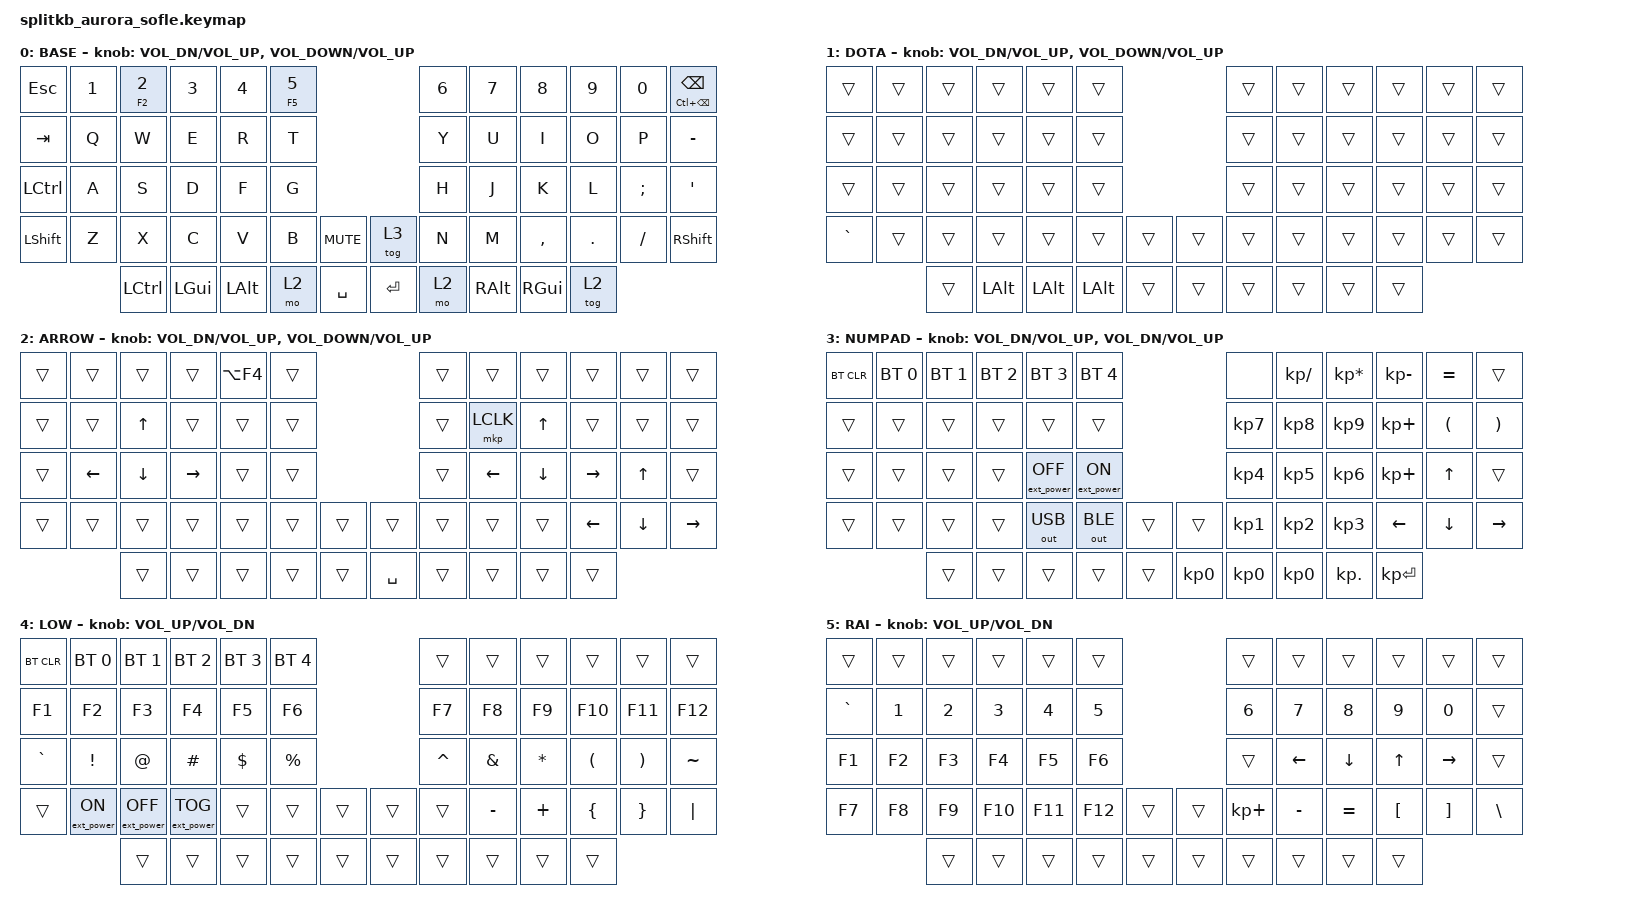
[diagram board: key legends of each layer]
#include <behaviors.dtsi>
#include <dt-bindings/zmk/bt.h>
#include <dt-bindings/zmk/ext_power.h>
#include <dt-bindings/zmk/keys.h>
#include <dt-bindings/zmk/outputs.h>
#include <dt-bindings/zmk/pointing.h>

/ {
    behaviors {
        TD_2: TD_2 {
            compatible = "zmk,behavior-tap-dance";
            label = "TD_2";
            #binding-cells = <0>;
            bindings = <&kp NUMBER_2>, <&kp F2>;

            tapping-term-ms = <100>;
        };

        TD_0: TD_0 {
            compatible = "zmk,behavior-tap-dance";
            label = "TD_0";
            #binding-cells = <0>;
            bindings = <&tog 8>, <&tog 9>;

            tapping-term-ms = <100>;
        };

        TD_1: TD_1 {
            compatible = "zmk,behavior-tap-dance";
            label = "TD_1";
            #binding-cells = <0>;
            bindings = <&kp BACKSPACE>, <&kp LC(BACKSPACE)>;

            tapping-term-ms = <100>;
        };

        TD_5: TD_5 {
            compatible = "zmk,behavior-tap-dance";
            label = "TD_5";
            #binding-cells = <0>;
            bindings = <&kp N5>, <&kp F5>;

            tapping-term-ms = <100>;
        };

        TH_2: TH_2 {
            compatible = "zmk,behavior-hold-tap";
            label = "TH_2";
            bindings = <&kp>, <&kp>;

            #binding-cells = <2>;
            flavor = "tap-preferred";
            tapping-term-ms = <200>;
        };
    };

    combos {
        compatible = "zmk,combos";

        Delete {
            bindings = <&kp DELETE>;
            key-positions = <22 23>;
        };

        equal_plus {
            bindings = <&kp EQUAL>;
            key-positions = <9 10>;
        };

        Backslash {
            bindings = <&kp BACKSLASH>;
            key-positions = <20 33>;
        };

        left_bracklet {
            bindings = <&kp LEFT_BRACKET>;
            key-positions = <20 21>;
        };

        right_bracket {
            bindings = <&kp RIGHT_BRACKET>;
            key-positions = <21 22>;
        };

        reset_layer {
            bindings = <&to 0>;
            key-positions = <54 55>;
        };

        To_dota {
            bindings = <&tog 1>;
            key-positions = <3 4 5>;
        };
    };

    macros {
        sinfo: sinfo {
            compatible = "zmk,behavior-macro";
            #binding-cells = <0>;
            bindings = <&none>;
            label = "SINFO";
        };
    };

    keymap {
        compatible = "zmk,keymap";

        default_layer {
            display-name = "BASE";

            // ------------------------------------------------------------------------------------------------------------
            // |  ESC  |  1  |  2  |  3   |  4   |  5   |                   |  6   |  7    |  8    |  9   |   0   |   `   |
            // |  TAB  |  Q  |  W  |  E   |  R   |  T   |                   |  Y   |  U    |  I    |  O   |   P   |   -   |
            // |  CTRL |  A  |  S  |  D   |  F   |  G   |                   |  H   |  J    |  K    |  L   |   ;   |   '   |
            // | SHIFT |  Z  |  X  |  C   |  V   |  B   |   "["  |  |  "]"  |  N   |  M    |  ,    |  .   |   /   | SHIFT |
            //               |CTRL | ALT  | GUI  | LOWER|  SPACE |  | ENTER | RAISE| BSPC  | GUI   | RALT |

            bindings = <
&kp ESC    &kp N1  &TH_2 F2 NUMBER_2  &kp N3        &kp N4        &TH_2 F5 N5                         &kp N6  &kp N7         &kp N8     &kp N9   &kp N0    &TH_2 LC(BACKSPACE) BACKSPACE
&kp TAB    &kp Q   &kp W              &kp E         &kp R         &kp T                               &kp Y   &kp U          &kp I      &kp O    &kp P     &kp MINUS
&kp LCTRL  &kp A   &kp S              &kp D         &kp F         &kp G                               &kp H   &kp J          &kp K      &kp L    &kp SEMI  &kp SQT
&kp LSHFT  &kp Z   &kp X              &kp C         &kp V         &kp B        &kp C_MUTE    &tog 3   &kp N   &kp M          &kp COMMA  &kp DOT  &kp FSLH  &kp RSHFT
                   &kp LCTRL          &kp LEFT_GUI  &kp LEFT_ALT  &mo 2        &kp SPACE     &kp RET  &mo 2   &kp RIGHT_ALT  &kp RGUI   &tog 2
            >;

            sensor-bindings =
                <&inc_dec_kp C_VOL_DN C_VOL_UP>,
                <&inc_dec_kp C_VOLUME_DOWN C_VOLUME_UP>;
        };

        Dota {
            bindings = <
&trans     &trans  &trans  &trans    &trans    &trans                      &trans  &trans  &trans  &trans  &trans  &trans
&trans     &trans  &trans  &trans    &trans    &trans                      &trans  &trans  &trans  &trans  &trans  &trans
&trans     &trans  &trans  &trans    &trans    &trans                      &trans  &trans  &trans  &trans  &trans  &trans
&kp GRAVE  &trans  &trans  &trans    &trans    &trans    &trans    &trans  &trans  &trans  &trans  &trans  &trans  &trans
                   &trans  &kp LALT  &kp LALT  &kp LALT  &trans    &trans  &trans  &trans  &trans  &trans
            >;

            sensor-bindings =
                <&inc_dec_kp C_VOL_DN C_VOL_UP>,
                <&inc_dec_kp C_VOLUME_DOWN C_VOLUME_UP>;

            label = "DOTA";
        };

        Arrow {
            bindings = <
&trans  &trans          &trans          &trans     &kp LA(F4)  &trans                       &trans  &trans          &trans          &trans          &trans          &trans
&trans  &trans          &kp UP_ARROW    &trans     &trans      &trans                       &trans  &mkp LCLK       &kp UP_ARROW    &trans          &trans          &trans
&trans  &kp LEFT_ARROW  &kp DOWN_ARROW  &kp RIGHT  &trans      &trans                       &trans  &kp LEFT_ARROW  &kp DOWN_ARROW  &kp RIGHT       &kp UP_ARROW    &trans
&trans  &trans          &trans          &trans     &trans      &trans  &trans    &trans     &trans  &trans          &trans          &kp LEFT_ARROW  &kp DOWN_ARROW  &kp RIGHT
                        &trans          &trans     &trans      &trans  &trans    &kp SPACE  &trans  &trans          &trans          &trans
            >;

            sensor-bindings =
                <&inc_dec_kp C_VOL_DN C_VOL_UP>,
                <&inc_dec_kp C_VOLUME_DOWN C_VOLUME_UP>;

            label = "ARROW";
        };

        NUMPAD {
            bindings = <
&bt BT_CLR  &bt BT_SEL 0  &bt BT_SEL 1  &bt BT_SEL 2  &bt BT_SEL 3       &bt BT_SEL 4                           &none            &kp KP_DIVIDE    &kp KP_MULTIPLY  &kp KP_SUBTRACT  &kp EQUAL             &trans
&trans      &trans        &trans        &trans        &trans             &trans                                 &kp KP_NUMBER_7  &kp KP_NUMBER_8  &kp KP_NUMBER_9  &kp KP_PLUS      &kp LEFT_PARENTHESIS  &kp RIGHT_PARENTHESIS
&trans      &trans        &trans        &trans        &ext_power EP_OFF  &ext_power EP_ON                       &kp KP_NUMBER_4  &kp KP_NUMBER_5  &kp KP_NUMBER_6  &kp KP_PLUS      &kp UP_ARROW          &trans
&trans      &trans        &trans        &trans        &out OUT_USB       &out OUT_BLE      &trans    &trans     &kp KP_NUMBER_1  &kp KP_NUMBER_2  &kp KP_NUMBER_3  &kp LEFT_ARROW   &kp DOWN_ARROW        &kp RIGHT_ARROW
                          &trans        &trans        &trans             &trans            &trans    &kp KP_N0  &kp KP_N0        &kp KP_N0        &kp KP_DOT       &kp KP_ENTER
            >;

            sensor-bindings =
                <&inc_dec_kp C_VOL_DN C_VOL_UP>,
                <&inc_dec_kp C_VOL_DN C_VOL_UP>;

            label = "NUMPAD";
        };

        lower_layer {
            display-name = "LOW";

            // ------------------------------------------------------------------------------------------------------------
            // | BTCLR | BT1 | BT2 |  BT3 |  BT4 |  BT5 |                   |      |       |       |      |       |       |
            // |  F1   |  F2 |  F3 |  F4  |  F5  |  F6  |                   |  F7  |  F8   |  F9   |  F10 |  F11  |  F12  |
            // |   `   |  !  |  @  |  #   |  $   |  %   |                   |  ^   |  &    |  *    |  (   |   )   |   ~   |
            // |       |     |     |      |      |      |        |  |       |      |  _    |  +    |  {   |   }   |  "|"  |
            //               |     |      |      |      |        |  |       |      |       |       |      |

            bindings = <
&bt BT_CLR  &bt BT_SEL 0      &bt BT_SEL 1       &bt BT_SEL 2       &bt BT_SEL 3  &bt BT_SEL 4                    &trans     &trans     &trans    &trans    &trans    &trans
&kp F1      &kp F2            &kp F3             &kp F4             &kp F5        &kp F6                          &kp F7     &kp F8     &kp F9    &kp F10   &kp F11   &kp F12
&kp GRAVE   &kp EXCL          &kp AT             &kp HASH           &kp DOLLAR    &kp PRCNT                       &kp CARET  &kp AMPS   &kp STAR  &kp LPAR  &kp RPAR  &kp TILDE
&trans      &ext_power EP_ON  &ext_power EP_OFF  &ext_power EP_TOG  &trans        &trans        &trans    &trans  &trans     &kp MINUS  &kp PLUS  &kp LBRC  &kp RBRC  &kp PIPE
                              &trans             &trans             &trans        &trans        &trans    &trans  &trans     &trans     &trans    &trans
            >;

            sensor-bindings = <&inc_dec_kp C_VOL_UP C_VOL_DN>;
        };

        raise_layer {
            display-name = "RAI";

            // ------------------------------------------------------------------------------------------------------------
            // |       |     |     |      |      |      |                   |      |       |       |      |       |       |
            // |   `   |  1  |  2  |  3   |  4   |  5   |                   |  6   |   7   |   8   |  9   |   0   |       |
            // |   F1  |  F2 |  F3 |  F4  |  F5  |  F6  |                   |      |   <-  |   v   |  ^   |  ->   |       |
            // |   F7  |  F8 |  F9 |  F10 |  F11 |  F12 |        |  |       |  +   |   -   |   =   |  [   |   ]   |   \   |
            //               |     |      |      |      |        |  |       |      |       |       |      |

            bindings = <
&trans     &trans  &trans  &trans   &trans   &trans                     &trans       &trans     &trans     &trans    &trans     &trans
&kp GRAVE  &kp N1  &kp N2  &kp N3   &kp N4   &kp N5                     &kp N6       &kp N7     &kp N8     &kp N9    &kp N0     &trans
&kp F1     &kp F2  &kp F3  &kp F4   &kp F5   &kp F6                     &trans       &kp LEFT   &kp DOWN   &kp UP    &kp RIGHT  &trans
&kp F7     &kp F8  &kp F9  &kp F10  &kp F11  &kp F12  &trans    &trans  &kp KP_PLUS  &kp MINUS  &kp EQUAL  &kp LBKT  &kp RBKT   &kp BSLH
                   &trans  &trans   &trans   &trans   &trans    &trans  &trans       &trans     &trans     &trans
            >;

            sensor-bindings = <&inc_dec_kp C_VOL_UP C_VOL_DN>;
        };
    };
};
